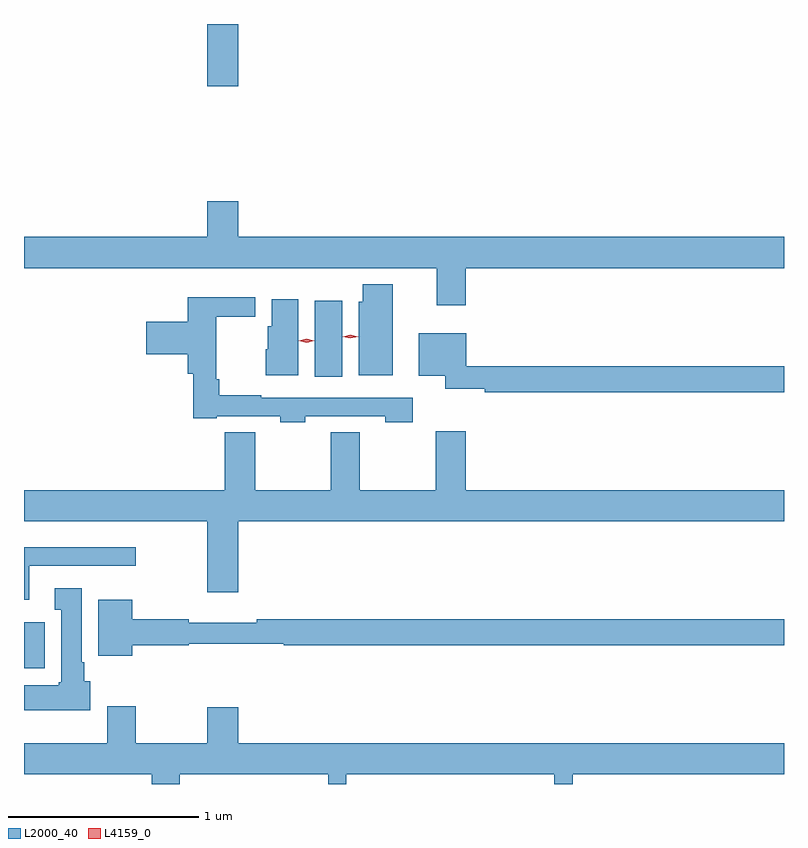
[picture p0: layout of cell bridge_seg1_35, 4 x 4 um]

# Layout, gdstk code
import gdstk
lib = gdstk.Library(unit=1e-6, precision=1e-09)
def R(c, l, rs):  # rectangles x0, y0, x1, y1
    for r in rs: c.add(gdstk.rectangle(r[:2], r[2:], *l))
def P(c, l, *ps):  # polygons
    for p in ps: c.add(gdstk.Polygon(p, *l))
L2000_40 = (2000, 40)
L4159_0 = (4159, 0)

bridge_seg1_35 = lib.new_cell('bridge_seg1_35')
R(bridge_seg1_35, L2000_40, [(1015.192,558.95,1015.3,559.192), (1016.723,560.484,1016.866,560.884), (1016.156,562.014,1016.32,562.341)])
P(bridge_seg1_35, L2000_40, [(1017.518,561.056),(1019.192,561.056),(1019.192,561.22),(1016.32,561.22),(1016.32,561.409),(1016.156,561.409),(1016.156,561.22),(1015.192,561.22),(1015.192,561.056),(1017.365,561.056),(1017.365,560.862),(1017.518,560.862)],
  [(1017.133,560.971),(1016.975,560.971),(1016.975,560.88),(1016.954,560.88),(1016.954,560.492),(1017.133,560.492)],
  [(1016.673,560.277),(1017.093,560.277),(1017.093,560.245),(1017.238,560.245),(1017.238,560.373),(1016.441,560.373),(1016.441,560.386),(1016.219,560.386),(1016.219,560.47),(1016.204,560.47),(1016.204,560.8),(1016.41,560.8),(1016.41,560.902),(1016.054,560.902),(1016.054,560.773),(1015.836,560.773),(1015.836,560.603),(1016.054,560.603),(1016.054,560.501),(1016.083,560.501),(1016.083,560.265),(1016.206,560.265),(1016.206,560.277),(1016.541,560.277),(1016.541,560.245),(1016.673,560.245)],
  [(1016.635,560.893),(1016.495,560.893),(1016.495,560.751),(1016.474,560.751),(1016.474,560.628),(1016.465,560.628),(1016.465,560.492),(1016.635,560.492)],
  [(1019.192,560.54),(1017.52,560.54),(1017.52,560.713),(1017.269,560.713),(1017.269,560.489),(1017.41,560.489),(1017.41,560.422),(1017.616,560.422),(1017.616,560.404),(1019.192,560.404)],
  [(1016.32,559.724),(1019.192,559.724),(1019.192,559.888),(1017.518,559.888),(1017.518,560.197),(1017.358,560.197),(1017.358,559.888),(1016.96,559.888),(1016.96,560.192),(1016.806,560.192),(1016.806,559.888),(1016.408,559.888),(1016.408,560.192),(1016.249,560.192),(1016.249,559.888),(1015.192,559.888),(1015.192,559.724),(1016.156,559.724),(1016.156,559.35),(1016.32,559.35)],
  [(1015.219,559.491),(1015.78,559.491),(1015.78,559.588),(1015.192,559.588),(1015.192,559.31),(1015.219,559.31)],
  [(1015.54,558.882),(1015.51,558.882),(1015.51,558.982),(1015.495,558.982),(1015.495,559.372),(1015.355,559.372),(1015.355,559.259),(1015.388,559.259),(1015.388,558.876),(1015.375,558.876),(1015.375,558.862),(1015.192,558.862),(1015.192,558.728),(1015.54,558.728)],
  [(1015.762,559.072),(1016.058,559.072),(1016.058,559.08),(1016.558,559.08),(1016.558,559.072),(1019.192,559.072),(1019.192,559.208),(1016.416,559.208),(1016.416,559.189),(1016.06,559.189),(1016.06,559.208),(1015.762,559.208),(1015.762,559.312),(1015.583,559.312),(1015.583,559.016),(1015.762,559.016)],
  [(1016.011,558.392),(1016.792,558.392),(1016.792,558.341),(1016.889,558.341),(1016.889,558.392),(1017.984,558.392),(1017.984,558.341),(1018.08,558.341),(1018.08,558.392),(1019.192,558.392),(1019.192,558.556),(1016.32,558.556),(1016.32,558.745),(1016.156,558.745),(1016.156,558.556),(1015.779,558.556),(1015.779,558.751),(1015.631,558.751),(1015.631,558.556),(1015.192,558.556),(1015.192,558.392),(1015.864,558.392),(1015.864,558.341),(1016.011,558.341)])
P(bridge_seg1_35, L4159_0, [(1016.91,560.686),(1016.869,560.695),(1016.869,560.695),(1016.869,560.696),(1016.91,560.706),(1016.95,560.696),(1016.95,560.696),(1016.95,560.696)],
  [(1016.679,560.664),(1016.638,560.674),(1016.638,560.674),(1016.638,560.675),(1016.68,560.684),(1016.72,560.674),(1016.72,560.673),(1016.72,560.673)])

lib.write_gds('bridge_seg1_35.gds')
